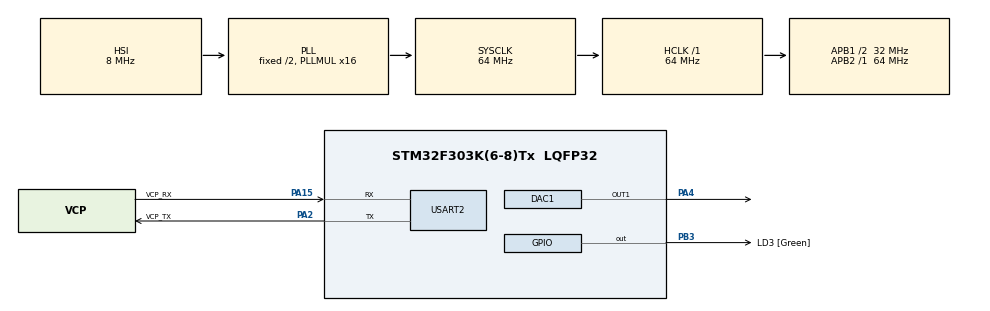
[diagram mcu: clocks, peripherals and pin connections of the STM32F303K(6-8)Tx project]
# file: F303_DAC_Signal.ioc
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Mcu.Family=STM32F3
Mcu.Name=STM32F303K(6-8)Tx
Mcu.Package=LQFP32
NVIC.PriorityGroup=NVIC_PRIORITYGROUP_4
NVIC.TIM2_IRQn=true\:0\:0\:false\:false\:true\:true\:true
PA13.GPIO_Label=SWDIO
PA13.Mode=Serial_Wire
PA13.Signal=SYS_JTMS-SWDIO
PA14.GPIO_Label=SWCLK
PA14.Mode=Serial_Wire
PA14.Signal=SYS_JTCK-SWCLK
PA15.GPIO_Label=VCP_RX
PA15.Mode=Asynchronous
PA15.Signal=USART2_RX
PA2.GPIO_Label=VCP_TX
PA2.Mode=Asynchronous
PA2.Signal=USART2_TX
PA4.Signal=COMP_DAC11_group
PB3.GPIO_Label=LD3 [Green]
PB3.Signal=GPIO_Output
PF0\ /\ OSC_IN.GPIO_Label=MCO
PF0\ /\ OSC_IN.Mode=HSE-External-Clock-Source
PF0\ /\ OSC_IN.Signal=RCC_OSC_IN
ProjectManager.HeapSize=0x200
ProjectManager.StackSize=0x400
ProjectManager.TargetToolchain=STM32CubeIDE
RCC.AHBFreq_Value=64000000
RCC.APB1CLKDivider=RCC_HCLK_DIV2
RCC.APB1Freq_Value=32000000
RCC.APB1TimFreq_Value=64000000
RCC.APB2Freq_Value=64000000
RCC.APB2TimFreq_Value=64000000
RCC.CortexFreq_Value=64000000
RCC.HCLKFreq_Value=64000000
RCC.HSE_VALUE=8000000
RCC.HSI_VALUE=8000000
RCC.PLLMUL=RCC_PLL_MUL16
RCC.SYSCLKFreq_VALUE=64000000
RCC.SYSCLKSourceVirtual=RCC_SYSCLKSOURCE_PLLCLK
SH.COMP_DAC11_group.0=DAC1_OUT1,DAC_OUT1
TIM2.Period=9
TIM2.Prescaler=63999
USART2.VirtualMode-Asynchronous=VM_ASYNC
VP_TIM2_VS_ClockSourceINT.Mode=Internal
board=NUCLEO-F303K8

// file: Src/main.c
/* USER CODE BEGIN Header */
/**
  ******************************************************************************
  * @file           : main.c
  * @brief          : Main program body
  ******************************************************************************
  * @attention
  *
  * <h2><center>&copy; Copyright (c) 2019 STMicroelectronics.
  * All rights reserved.</center></h2>
  *
  * This software component is licensed by ST under BSD 3-Clause license,
  * the "License"; You may not use this file except in compliance with the
  * License. You may obtain a copy of the License at:
  *                        opensource.org/licenses/BSD-3-Clause
  *
  ******************************************************************************
  */
/* USER CODE END Header */

#include "main.h"

/* USER CODE BEGIN Includes */
#include "math.h"
/* USER CODE END Includes */

/* USER CODE BEGIN PD */
#define N_MUESTRAS 50
#define F_CLK 64000000
#define PI 3.14159
/* USER CODE END PD */

DAC_HandleTypeDef hdac1;

TIM_HandleTypeDef htim2;

UART_HandleTypeDef huart2;

/* USER CODE BEGIN PV */
static uint8_t signal[N_MUESTRAS];
static uint8_t indice = 0;
uint8_t data;
/* USER CODE END PV */

void SystemClock_Config(void);
static void MX_GPIO_Init(void);
static void MX_USART2_UART_Init(void);
static void MX_DAC1_Init(void);
static void MX_TIM2_Init(void);
/* USER CODE BEGIN PFP */
void calculo_senal(void);
/* USER CODE END PFP */

int main(void)
{

  /* MCU Configuration--------------------------------------------------------*/

  /* Reset of all peripherals, Initializes the Flash interface and the Systick. */
  HAL_Init();

  /* Configure the system clock */
  SystemClock_Config();

  /* Initialize all configured peripherals */
  MX_GPIO_Init();
  MX_USART2_UART_Init();
  MX_DAC1_Init();
  MX_TIM2_Init();
  /* USER CODE BEGIN 2 */
  calculo_senal();
  HAL_DAC_Start(&hdac1, DAC_CHANNEL_1);
  HAL_TIM_Base_Start_IT(&htim2);
  /* USER CODE END 2 */

  /* Infinite loop */
  while (1)
  {

  }
}

void SystemClock_Config(void)
{
  RCC_OscInitTypeDef RCC_OscInitStruct = {0};
  RCC_ClkInitTypeDef RCC_ClkInitStruct = {0};

  /** Initializes the CPU, AHB and APB busses clocks
  */
  RCC_OscInitStruct.OscillatorType = RCC_OSCILLATORTYPE_HSI;
  RCC_OscInitStruct.HSIState = RCC_HSI_ON;
  RCC_OscInitStruct.HSICalibrationValue = RCC_HSICALIBRATION_DEFAULT;
  RCC_OscInitStruct.PLL.PLLState = RCC_PLL_ON;
  RCC_OscInitStruct.PLL.PLLSource = RCC_PLLSOURCE_HSI;
  RCC_OscInitStruct.PLL.PLLMUL = RCC_PLL_MUL16;
  if (HAL_RCC_OscConfig(&RCC_OscInitStruct) != HAL_OK)
  {
    Error_Handler();
  }
  /** Initializes the CPU, AHB and APB busses clocks
  */
  RCC_ClkInitStruct.ClockType = RCC_CLOCKTYPE_HCLK|RCC_CLOCKTYPE_SYSCLK
                              |RCC_CLOCKTYPE_PCLK1|RCC_CLOCKTYPE_PCLK2;
  RCC_ClkInitStruct.SYSCLKSource = RCC_SYSCLKSOURCE_PLLCLK;
  RCC_ClkInitStruct.AHBCLKDivider = RCC_SYSCLK_DIV1;
  RCC_ClkInitStruct.APB1CLKDivider = RCC_HCLK_DIV2;
  RCC_ClkInitStruct.APB2CLKDivider = RCC_HCLK_DIV1;

  if (HAL_RCC_ClockConfig(&RCC_ClkInitStruct, FLASH_LATENCY_2) != HAL_OK)
  {
    Error_Handler();
  }
}

static void MX_DAC1_Init(void)
{

  DAC_ChannelConfTypeDef sConfig = {0};

  /** DAC Initialization
  */
  hdac1.Instance = DAC1;
  if (HAL_DAC_Init(&hdac1) != HAL_OK)
  {
    Error_Handler();
  }
  /** DAC channel OUT1 config
  */
  sConfig.DAC_Trigger = DAC_TRIGGER_NONE;
  sConfig.DAC_OutputBuffer = DAC_OUTPUTBUFFER_ENABLE;
  if (HAL_DAC_ConfigChannel(&hdac1, &sConfig, DAC_CHANNEL_1) != HAL_OK)
  {
    Error_Handler();
  }

}

static void MX_TIM2_Init(void)
{

  TIM_ClockConfigTypeDef sClockSourceConfig = {0};
  TIM_MasterConfigTypeDef sMasterConfig = {0};

  htim2.Instance = TIM2;
  htim2.Init.Prescaler = 63999;
  htim2.Init.CounterMode = TIM_COUNTERMODE_UP;
  htim2.Init.Period = 9;
  htim2.Init.ClockDivision = TIM_CLOCKDIVISION_DIV1;
  htim2.Init.AutoReloadPreload = TIM_AUTORELOAD_PRELOAD_DISABLE;
  if (HAL_TIM_Base_Init(&htim2) != HAL_OK)
  {
    Error_Handler();
  }
  sClockSourceConfig.ClockSource = TIM_CLOCKSOURCE_INTERNAL;
  if (HAL_TIM_ConfigClockSource(&htim2, &sClockSourceConfig) != HAL_OK)
  {
    Error_Handler();
  }
  sMasterConfig.MasterOutputTrigger = TIM_TRGO_RESET;
  sMasterConfig.MasterSlaveMode = TIM_MASTERSLAVEMODE_DISABLE;
  if (HAL_TIMEx_MasterConfigSynchronization(&htim2, &sMasterConfig) != HAL_OK)
  {
    Error_Handler();
  }

}

static void MX_USART2_UART_Init(void)
{

  huart2.Instance = USART2;
  huart2.Init.BaudRate = 38400;
  huart2.Init.WordLength = UART_WORDLENGTH_8B;
  huart2.Init.StopBits = UART_STOPBITS_1;
  huart2.Init.Parity = UART_PARITY_NONE;
  huart2.Init.Mode = UART_MODE_TX_RX;
  huart2.Init.HwFlowCtl = UART_HWCONTROL_NONE;
  huart2.Init.OverSampling = UART_OVERSAMPLING_16;
  huart2.Init.OneBitSampling = UART_ONE_BIT_SAMPLE_DISABLE;
  huart2.AdvancedInit.AdvFeatureInit = UART_ADVFEATURE_NO_INIT;
  if (HAL_UART_Init(&huart2) != HAL_OK)
  {
    Error_Handler();
  }

}

static void MX_GPIO_Init(void)
{
  GPIO_InitTypeDef GPIO_InitStruct = {0};

  /* GPIO Ports Clock Enable */
  __HAL_RCC_GPIOF_CLK_ENABLE();
  __HAL_RCC_GPIOA_CLK_ENABLE();
  __HAL_RCC_GPIOB_CLK_ENABLE();

  /*Configure GPIO pin Output Level */
  HAL_GPIO_WritePin(LD3_GPIO_Port, LD3_Pin, GPIO_PIN_RESET);

  /*Configure GPIO pin : LD3_Pin */
  GPIO_InitStruct.Pin = LD3_Pin;
  GPIO_InitStruct.Mode = GPIO_MODE_OUTPUT_PP;
  GPIO_InitStruct.Pull = GPIO_NOPULL;
  GPIO_InitStruct.Speed = GPIO_SPEED_FREQ_LOW;
  HAL_GPIO_Init(LD3_GPIO_Port, &GPIO_InitStruct);

}

/* USER CODE BEGIN 4 */
void calculo_senal(void){
	for (uint8_t i=0; i<N_MUESTRAS;i++){
			signal[i] = (sin(i*2*PI/N_MUESTRAS)+1)*(4095+1)/2;
	}
}

void dac_signal(void) {

//	uint8_t data;
	data=signal[indice];
	HAL_DAC_SetValue(&hdac1, DAC_CHANNEL_1, DAC_ALIGN_12B_R, data);
	indice++;
	if (indice >= N_MUESTRAS) {
		indice = 0;
	}
}

void HAL_TIM_PeriodElapsedCallback(TIM_HandleTypeDef *htim){
	if(htim==&htim2){
//		dac_signal();
		HAL_GPIO_TogglePin(GPIOB, GPIO_PIN_3);
		dac_signal();
	}
}
/* USER CODE END 4 */

void Error_Handler(void)
{
}

/************************ (C) COPYRIGHT STMicroelectronics *****END OF FILE****/
